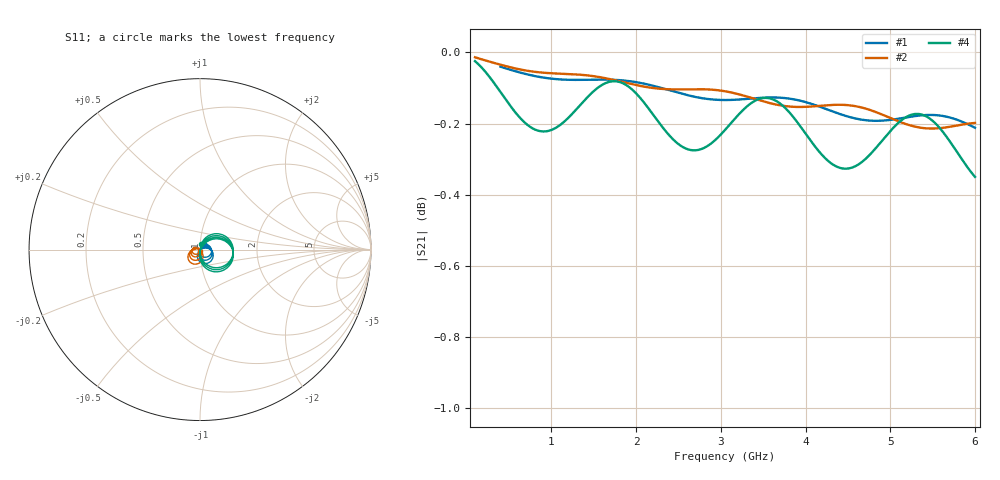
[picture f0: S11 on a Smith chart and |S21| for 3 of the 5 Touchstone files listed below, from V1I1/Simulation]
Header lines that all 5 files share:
! Port1::OUT
! Port2::OUT
!PowerSI Version: 16.0.0.02091.0  000
!Computer Host Name: DESKTOP-JQNU4CJ
! GNDNET GND
! NETSLIST
!ENCODED_BEGIN
!0889B71221DAF54192BECE6985861F1178E3CF1522971D6992DC39A223786694703D55A53EC5558E184E2ACE
!ENCODED_END
Fixed: TouchstoneFormatFlag = 1
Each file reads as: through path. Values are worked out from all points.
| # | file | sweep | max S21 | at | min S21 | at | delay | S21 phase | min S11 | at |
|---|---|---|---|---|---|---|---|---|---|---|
| 1 | fixture01_original_dim.S2P | 400 MHz to 6 GHz | -0.04 dB | 400 MHz | -0.2 dB | 6 GHz | 294 ps | 138 deg at 2.09 GHz | -60.5 dB | 1.905 GHz |
| 2 | fixture01_worst_case_higher.S2P | 100 MHz to 6 GHz | -0.01 dB | 100 MHz | -0.2 dB | 5.495 GHz | 296 ps | -179 deg at 1.67 GHz | -60.1 dB | 1.44 GHz |
| 3 | fixture01_worst_case_intermed1.S2P | 100 MHz to 6 GHz | -0.01 dB | 100 MHz | -0.2 dB | 5.495 GHz | 296 ps | -179 deg at 1.67 GHz | -60.1 dB | 1.44 GHz |
| 4 | fixture01_worst_case_intermed2.S2P | 100 MHz to 6 GHz | -0.02 dB | 100 MHz | -0.3 dB | 6 GHz | 291 ps | -176 deg at 1.67 GHz | -54.1 dB | 1.775 GHz |
| 5 | fixture01_worst_case_lower.S2P | 100 MHz to 6 GHz | -0.02 dB | 100 MHz | -0.3 dB | 6 GHz | 291 ps | -176 deg at 1.67 GHz | -54.1 dB | 1.775 GHz |
